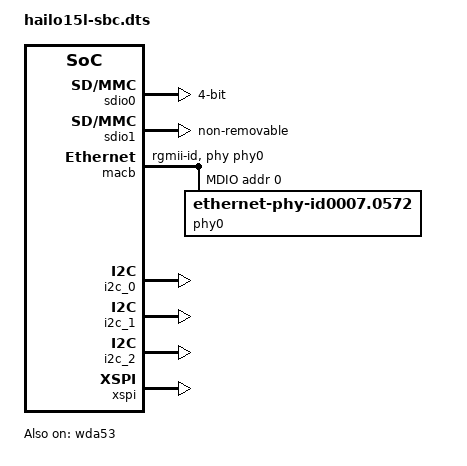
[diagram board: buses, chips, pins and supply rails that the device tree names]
// SPDX-License-Identifier: GPL-2.0
/*
 * dts file for Hailo15l SBC SoC
 *
 * Copyright (c) 2019-2024 Hailo Technologies Ltd. All rights reserved.
 */

/*
* Note: This device tree applies only to the Hailo15l SBC.
* It is not recommended to be used as a reference device tree.
*
* For instructions on creating a custom device tree, please refer to the Hailo OS User Guide:
* https://hailo.ai/developer-zone/documentation/
*/

#include "hailo15l-base.dtsi"
#include "hailo15_ddr_configuration.dtsi"
#include "hailo1x_ddr_MT53E512M32D1-046_regconfig_2GB_LP4X.dtsi"
#include <dt-bindings/net/mscc-phy-vsc8531.h>

&hailo_boot_info {
    ddr_config {
        dram_auto_detect_en = <1>; // Warnning: Applicable only to Hailo15l SBC and must be removed otherwise.
        sbc-rev-check = <1>;
        layout_swizzling_config = <0x8 0x10532647 0x8 0x10347256 0x8 0x23104765 0x8 0x56243071>, // Hailo15l-SBC Rev1
                                  <0x8 0x67431052 0x8 0x67305142 0x8 0x25104763 0x8 0x62534071>; // Hailo15l-SBC Rev2
    };
};

&sdio0 {
    status = "okay";
    sdhci-caps = <0 0x01000000>; // Force VOLT33 capability
    bus-width = <4>;

    phy-config {
            card-is-emmc = <0x0>;
            cmd-pad-values = <0x1 0x3 0x1 0x1>; // txslew_ctrl_n, txslew_ctrl_p, weakpull_enable, rxsel
            dat-pad-values = <0x1 0x3 0x1 0x1>; // txslew_ctrl_n, txslew_ctrl_p, weakpull_enable, rxsel
            rst-pad-values = <0x1 0x3 0x1 0x1>; // txslew_ctrl_n, txslew_ctrl_p, weakpull_enable, rxsel
            clk-pad-values = <0x1 0x3 0x0 0x1>; // txslew_ctrl_n, txslew_ctrl_p, weakpull_enable, rxsel
            sdclkdl-cnfg = <0x1 0x0>; //extdly_en, cckdl_dc
            drive-strength = <0x9 0x8>; //pad_sp, pad_sn
            u-boot,dm-spl;
    };
};

&sdio1 {
    status = "okay";
    non-removable;
    phy-config {
            card-is-emmc = <0x1>;
            cmd-pad-values = <0x2 0x2 0x1 0x1>; // txslew_ctrl_n, txslew_ctrl_p, weakpull_enable, rxsel
            dat-pad-values = <0x2 0x2 0x1 0x1>; // txslew_ctrl_n, txslew_ctrl_p, weakpull_enable, rxsel
            rst-pad-values = <0x2 0x2 0x1 0x1>; // txslew_ctrl_n, txslew_ctrl_p, weakpull_enable, rxsel
            clk-pad-values = <0x2 0x2 0x0 0x0>; // txslew_ctrl_n, txslew_ctrl_p, weakpull_enable, rxsel
            sdclkdl-cnfg = <0x1 0x3>; //extdly_en, cckdl_dc
            drive-strength = <0x9 0x8>; //pad_sp, pad_sn
            u-boot,dm-spl;
    };
};

&macb {
    status = "okay";
    phy-mode = "rgmii-id";
    phy-handle = <&phy0>;
    mdio {
        #address-cells = <1>;
        #size-cells = <0>;

        phy0: ethernet-phy@0 {
            compatible = "ethernet-phy-id0007.0572";
            reg = <0>;
            vsc8531,rx-clk-skew = <VSC8531_RGMII_CLK_DELAY_1_7_NS>;
            vsc8531,tx-clk-skew = <VSC8531_RGMII_CLK_DELAY_1_7_NS>;
            status = "okay";
        };
    };
};

&wda53 {
    status = "okay";
};

&hailo_boot_info {
    shutdown-gpio-pin = <29>;
};

&i2c_0 {
    status = "okay";
};

&i2c_1 {
    status = "okay";
};

&i2c_2 {
    status = "okay";
};

&xspi {
    status = "okay";
};
